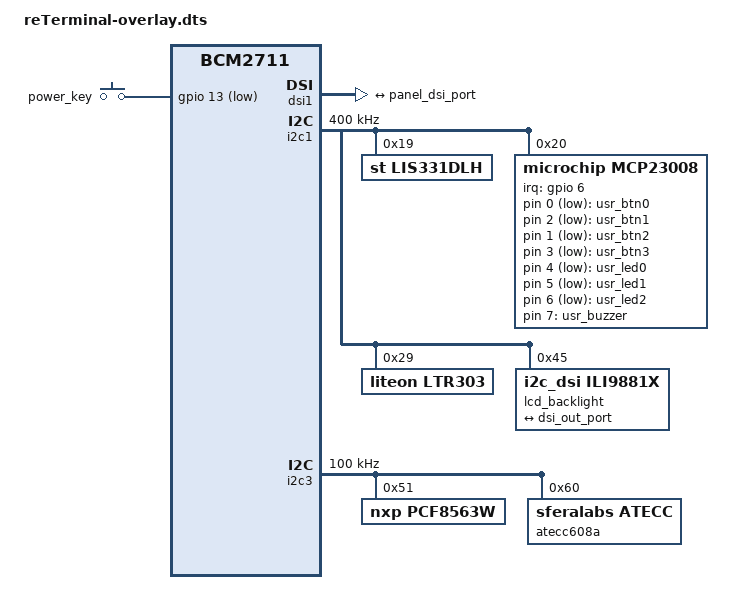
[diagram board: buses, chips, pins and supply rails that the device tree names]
/*
 * Copyright (C) 2021 Seeed Studio
 * MIT License
 */
/dts-v1/;
/plugin/;

/ {
    compatible = "brcm,bcm2835", "brcm,bcm2708", "brcm,bcm2709", "brcm,bcm2711";

    fragment@0 {
        target-path="/";
        __overlay__ {
            hardware = "reTerminal V1.9";
        };
    };

    fragment@1 {
        target = <&dsi1>;
        __overlay__ {
            #address-cells = <1>;
            #size-cells = <0>;
            status = "okay";

            port {
                dsi_out_port: endpoint {
                    remote-endpoint = <&panel_dsi_port>;
                };
            };
        };
    };
    
    fragment@2 {
        target = <&gpio>;
        __overlay__ {
            power_key_pin: power_key_pin {
                brcm,pins = <13>;
                brcm,function = <0>;
                brcm,pull = <2>;
            };

            pca9554_irq_pin: pca9554_irq_pin@20 {
                brcm,pins = <6>;
                brcm,function = <0>;
                brcm,pull = <2>;
            };
        };
    };

    fragment@4 {
        target = <&i2c1>;
        __overlay__ {
            status = "okay";
            clock-frequency = <400000>;
            #address-cells = <1>;
            #size-cells = <0>;
            
            lis331dlh@19 {
                compatible = "st,lis331dlh";
                reg = <0x19>;
                status = "okay";
            };
            
            /*
             * This board fits an MCP23008 at 0x20, not a PCA9554A at 0x38.
             * Verified on the unit: nothing answers at 0x38 on any i2c bus,
             * and the chip at 0x20 has the MCP23008 register map (11
             * registers, GPIO at 0x09) rather than the PCA9554 four. Both
             * Seeed upstream and the stock system declare 0x38, so the
             * expander never probes and the LEDs, buzzer and buttons are
             * all dead.
             */
            mcp23008: gpio@20 {
                compatible = "microchip,mcp23008";
                reg = <0x20>;
                status = "okay";

                gpio-controller;
                #gpio-cells = <2>;

                interrupt-controller;
                #interrupt-cells = <2>;
                interrupt-parent = <&gpio>;
                interrupts = <6 2>;

                pinctrl-names = "default";
                pinctrl-0 = <&pca9554_irq_pin>;

                input_pins: pinmux {
                    pins = "gpio0", "gpio1", "gpio2", "gpio3";
                    bias-pull-up;
                };
            };

            ltr303@29 {
                compatible = "liteon,ltr303";
                reg = <0x29>;
                status = "okay";
            };
            
            mipi_dsi: mipi_dsi@45 {
                compatible = "i2c_dsi,ili9881x";
                reg = <0x45>;
                label = "lcd_backlight";

                mcu_auto_reset_enable = <0>;
                tp_point_rotate = <0>;

                port {
                    panel_dsi_port: endpoint {
                        remote-endpoint = <&dsi_out_port>;
                    };
                };
            };
        };
    };

    fragment@5 {
        target = <&i2c3>;
        __overlay__ {
            status = "okay";
            clock-frequency = <100000>;
            #address-cells = <1>;
            #size-cells = <0>;
            
            pcf8563w@51 {
                compatible = "nxp,pcf8563w";
                reg = <0x51>;
            };

            atecc608a@60 {
                compatible = "sferalabs,atecc";
                reg = <0x60>;
                status = "okay";
            };
        };
    };

    fragment@6 {
        target = <&leds>;
        __overlay__ {
            compatible = "gpio-leds";

            usr_led0: usr_led0 {
                label = "usr_led0";
                linux,default-trigger = "default-off";
                gpios = <&mcp23008 4 1>;
            };

            usr_led1: usr_led1 {
                label = "usr_led1";
                linux,default-trigger = "default-off";
                gpios = <&mcp23008 5 1>;
            };

            usr_led2: usr_led2 {
                label = "usr_led2";
                linux,default-trigger = "default-off";
                gpios = <&mcp23008 6 1>;
            };

            usr_buzzer: usr_led3 {
                label = "usr_buzzer";
                linux,default-trigger = "default-off";
                gpios = <&mcp23008 7 0>;
                default-state = "off";
            };
        };
    };

    fragment@7 {
        target-path="/";
        __overlay__ {
            power_keys: power_keys {
                compatible = "gpio-keys";
                status = "okay";
                
                pwr_btn: pwr_btn {
                    debounce-interval = <5>;
                    linux,code = <142>;
                    label = "power_key";
                    gpios = <&gpio 13 1>;
                    gpio-key,wakeup;
                    autorepeat;
                };
            };
        };
    };

    fragment@8 {
        target-path="/";
        __overlay__ {
            user_keys: user_keys {
                compatible = "gpio-keys";
                status = "okay";

                usr_btn0: usr_btn0 {
                    debounce-interval = <5>;
                    linux,code = <30>;
                    label = "usr_btn0";
                    gpios = <&mcp23008 0 1>;
                    gpio-key,wakeup;
                    autorepeat;
                };

                usr_btn1: usr_btn1 {
                    debounce-interval = <5>;
                    linux,code = <31>;
                    label = "usr_btn1";
                    gpios = <&mcp23008 2 1>;
                    gpio-key,wakeup;
                    autorepeat;
                };

                usr_btn2: usr_btn2 {
                    debounce-interval = <5>;
                    linux,code = <32>;
                    label = "usr_btn2";
                    gpios = <&mcp23008 1 1>;
                    gpio-key,wakeup;
                    autorepeat;
                };

                usr_btn3: usr_btn3 {
                    debounce-interval = <5>;
                    linux,code = <33>;
                    label = "usr_btn3";
                    gpios = <&mcp23008 3 1>;
                    gpio-key,wakeup;
                    autorepeat;
                };
            };
        };
    };

    __overrides__ {
        int = <&pca9554_irq_pin>,"brcm,pins:0";
        addr = <&mcp23008>,"reg:0";

        key_pwr = <&pwr_btn>,"linux,code:0";
        key0 = <&usr_btn0>,"linux,code:0";
        key1 = <&usr_btn1>,"linux,code:0";
        key2 = <&usr_btn2>,"linux,code:0";
        key3 = <&usr_btn3>,"linux,code:0";

        mcu_auto_reset = <&mipi_dsi>,"mcu_auto_reset_enable:0";
        tp_rotate = <&mipi_dsi>,"tp_point_rotate:0";
    };
};
